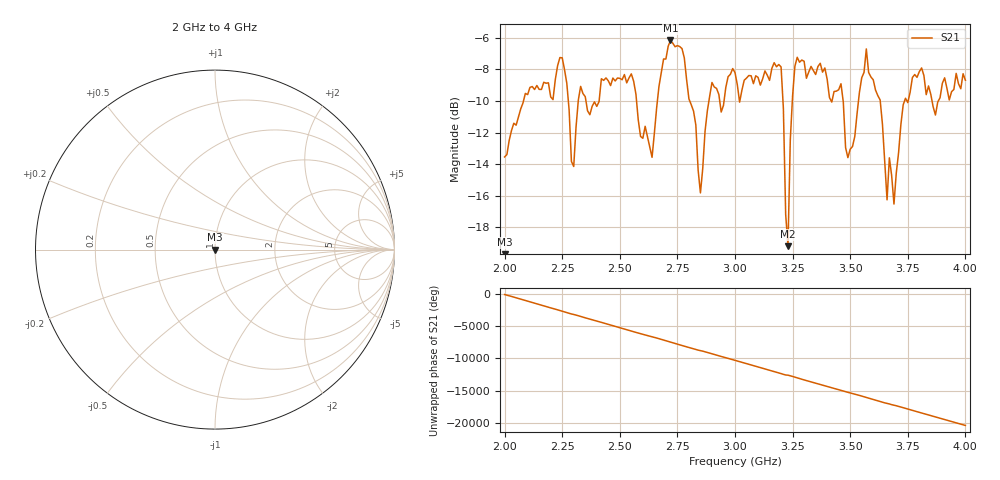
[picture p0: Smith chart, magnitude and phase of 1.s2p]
!Keysight Technologies,P9374A,MY57212427,A.14.10.08
!Date: Wednesday, July 20, 2022 15:46:54
!Correction: S11(Off)
!S21(Off)
!S12(Off)
!S22(Off)
!S2P File: Measurement: :
# Hz S  dB  R 50
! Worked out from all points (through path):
!   201 points, 2 GHz to 4 GHz, reference 50 ohm
!   highest |S21| = -6.16 dB at 2.72 GHz (marker M1); lowest = -19.2 dB at 3.23 GHz (marker M2)
!   lowest |S11| = - dB at 2 GHz (marker M3), VSWR 1.00, Z = 50 + j7.07e-09 ohm
!   |S11| at or under -10 dB: start of sweep to end of sweep
!   S12 and S22 are empty: the file has one direction only
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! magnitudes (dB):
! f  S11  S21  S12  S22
! 2 GHz  -  -13.5  -  -
! 2.25 GHz  -  -7.3  -  -
! 2.3 GHz  -  -14.1  -  -
! 2.34 GHz  -  -9.5  -  -
! 2.55 GHz  -  -8.3  -  -
! 2.64 GHz  -  -13.6  -  -
! 2.67 GHz  -  -9.1  -  -
! 2.72 GHz  -  -6.2  -  -
! 2.85 GHz  -  -15.8  -  -
! 2.9 GHz  -  -8.8  -  -
! 3 GHz  -  -8.2  -  -
! 3.2 GHz  -  -7.8  -  -
! 3.23 GHz  -  -19.2  -  -
! 3.26 GHz  -  -7.8  -  -
! 3.34 GHz  -  -8.1  -  -
! 3.46 GHz  -  -8.9  -  -
! 3.49 GHz  -  -13.6  -  -
! 3.57 GHz  -  -6.7  -  -
! 3.67 GHz  -  -13.6  -  -
! 3.69 GHz  -  -16.5  -  -
! 3.78 GHz  -  -8.3  -  -
! 4 GHz  -  -8.7  -  -
